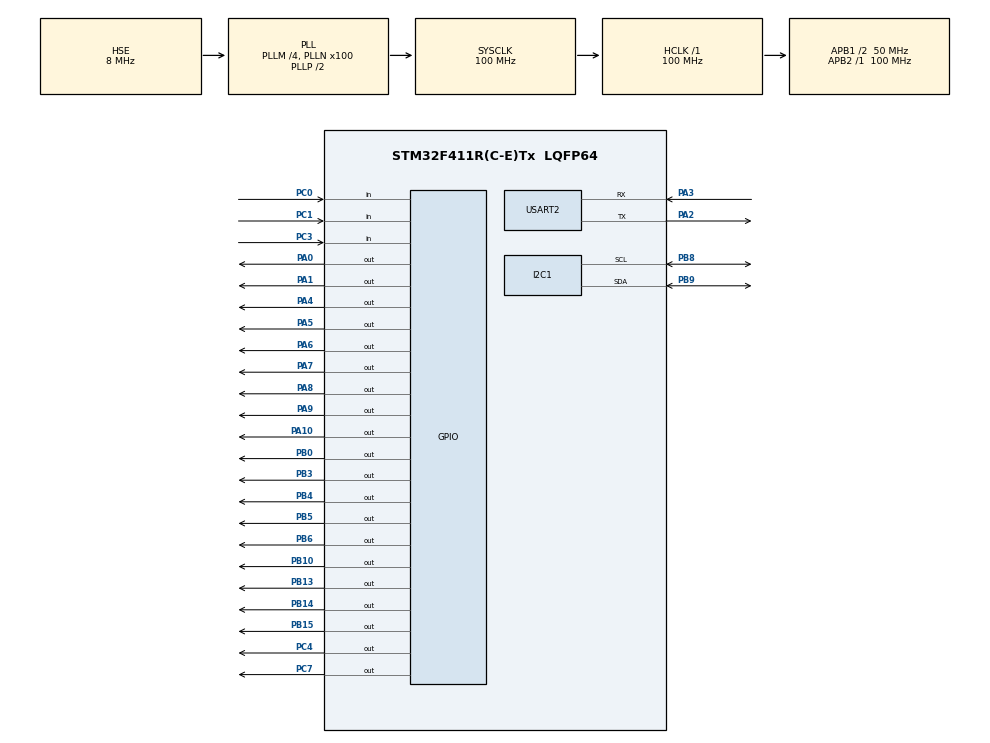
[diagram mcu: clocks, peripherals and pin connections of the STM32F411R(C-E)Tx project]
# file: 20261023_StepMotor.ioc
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Mcu.Family=STM32F4
Mcu.Name=STM32F411R(C-E)Tx
Mcu.Package=LQFP64
NVIC.PriorityGroup=NVIC_PRIORITYGROUP_4
NVIC.TIM1_BRK_TIM9_IRQn=true\:0\:0\:false\:false\:true\:true\:true\:true
NVIC.TIM3_IRQn=true\:0\:0\:false\:false\:true\:true\:true\:true
NVIC.TIM4_IRQn=true\:0\:0\:false\:false\:true\:true\:true\:true
PA0-WKUP.Signal=GPIO_Output
PA1.Signal=GPIO_Output
PA10.Signal=GPIO_Output
PA13.Mode=Serial_Wire
PA13.Signal=SYS_JTMS-SWDIO
PA14.Mode=Serial_Wire
PA14.Signal=SYS_JTCK-SWCLK
PA2.Mode=Asynchronous
PA2.Signal=USART2_TX
PA3.Mode=Asynchronous
PA3.Signal=USART2_RX
PA4.Signal=GPIO_Output
PA5.Signal=GPIO_Output
PA6.Signal=GPIO_Output
PA7.Signal=GPIO_Output
PA8.Signal=GPIO_Output
PA9.Signal=GPIO_Output
PB0.Signal=GPIO_Output
PB10.Signal=GPIO_Output
PB13.Signal=GPIO_Output
PB14.Signal=GPIO_Output
PB15.Signal=GPIO_Output
PB3.Signal=GPIO_Output
PB4.Signal=GPIO_Output
PB5.Signal=GPIO_Output
PB6.Signal=GPIO_Output
PB8.Mode=I2C
PB8.Signal=I2C1_SCL
PB9.Mode=I2C
PB9.Signal=I2C1_SDA
PC0.Signal=GPIO_Input
PC1.Signal=GPIO_Input
PC3.Signal=GPIO_Input
PC4.Signal=GPIO_Output
PC7.Signal=GPIO_Output
PH0\ -\ OSC_IN.Mode=HSE-External-Oscillator
PH0\ -\ OSC_IN.Signal=RCC_OSC_IN
PH1\ -\ OSC_OUT.Mode=HSE-External-Oscillator
PH1\ -\ OSC_OUT.Signal=RCC_OSC_OUT
ProjectManager.HeapSize=0x200
ProjectManager.StackSize=0x400
ProjectManager.TargetToolchain=STM32CubeIDE
RCC.48MHZClocksFreq_Value=50000000
RCC.AHBFreq_Value=100000000
RCC.APB1CLKDivider=RCC_HCLK_DIV2
RCC.APB1Freq_Value=50000000
RCC.APB1TimFreq_Value=100000000
RCC.APB2Freq_Value=100000000
RCC.APB2TimFreq_Value=100000000
RCC.CortexFreq_Value=100000000
RCC.HCLKFreq_Value=100000000
RCC.HSE_VALUE=8000000
RCC.HSI_VALUE=16000000
RCC.LSE_VALUE=32768
RCC.PLLM=4
RCC.PLLN=100
RCC.PLLSourceVirtual=RCC_PLLSOURCE_HSE
RCC.SYSCLKFreq_VALUE=100000000
RCC.SYSCLKSource=RCC_SYSCLKSOURCE_PLLCLK
RCC.VCOOutputFreq_Value=200000000
TIM3.Period=1000-1
TIM3.Prescaler=100-1
TIM4.Period=1000-1
TIM4.Prescaler=1000-1
TIM9.AutoReloadPreload=TIM_AUTORELOAD_PRELOAD_ENABLE
TIM9.Prescaler=100-1
USART2.VirtualMode=VM_ASYNC
VP_TIM3_VS_ClockSourceINT.Mode=Internal
VP_TIM4_VS_ClockSourceINT.Mode=Internal
VP_TIM9_VS_ClockSourceINT.Mode=Internal
board=custom

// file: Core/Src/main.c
/* USER CODE BEGIN Header */
/**
 ******************************************************************************
 * @file           : main.c
 * @brief          : Main program body
 ******************************************************************************
 * @attention
 *
 * Copyright (c) 2026 STMicroelectronics.
 * All rights reserved.
 *
 * This software is licensed under terms that can be found in the LICENSE file
 * in the root directory of this software component.
 * If no LICENSE file comes with this software, it is provided AS-IS.
 *
 ******************************************************************************
 */
/* USER CODE END Header */
#include "main.h"

/* USER CODE BEGIN Includes */
#include "driver/button/button.h"
#include "driver/stepmotor/stepmotor.h"
/* USER CODE END Includes */

I2C_HandleTypeDef hi2c1;

TIM_HandleTypeDef htim3;
TIM_HandleTypeDef htim4;
TIM_HandleTypeDef htim9;

UART_HandleTypeDef huart2;

void SystemClock_Config(void);
static void MX_GPIO_Init(void);
static void MX_TIM3_Init(void);
static void MX_TIM4_Init(void);
static void MX_I2C1_Init(void);
static void MX_USART2_UART_Init(void);
static void MX_TIM9_Init(void);
/* USER CODE BEGIN PFP */

stepMotor_pin_t stepMotorPinSec = {
		.port = {GPIOA,GPIOA,GPIOA,GPIOB},
		.pin = {GPIO_PIN_0,GPIO_PIN_1,GPIO_PIN_4,GPIO_PIN_0}
};

stepMotor_t motor_sec = {
		.pin = &stepMotorPinSec,
		.stepCounter = 0
};

/* TIM9 tick = 1 MHz (prescaler 100 on 100 MHz). One motor step per update event.
 * 28BYJ-48 half-step must stay slower than ~2 ms/step or it loses steps. */
#define CLOCKHANDS_PERIOD_SLOW_US	4000u	/* 250 steps/s */
#define CLOCKHANDS_PERIOD_FAST_US	2000u	/* 500 steps/s */

button_t btn_up;
button_t btn_down;

volatile uint8_t isrFlag = 0;

void ClockHands_setPeriodUs(uint16_t us){
	__HAL_TIM_SET_AUTORELOAD(&htim9, us - 1);
	__HAL_TIM_SET_COUNTER(&htim9, 0);	/* avoid waiting for a full 16-bit wrap */
}

void ClockHands_setFlag(void){
	isrFlag = 1;
}
void ClockHands_clearFlag(void){
	isrFlag = 0;
}
void ClockHands_ISR(void){
	ClockHands_setFlag();
}
void ClockHands_Task(void){
	if(isrFlag == 0){
		return;
	}
	ClockHands_clearFlag();
	StepMotor_stepPhase(&motor_sec,STEPMOTOR_ORIENTATION_CW);
}
void HAL_TIM_PeriodElapsedCallback(TIM_HandleTypeDef *htim)
{
	if(htim->Instance == TIM9){
		ClockHands_ISR();
	}
}
/* USER CODE END PFP */

int main(void)
{

	/* MCU Configuration--------------------------------------------------------*/

	/* Reset of all peripherals, Initializes the Flash interface and the Systick. */
	HAL_Init();

	/* Configure the system clock */
	SystemClock_Config();

	/* Initialize all configured peripherals */
	MX_GPIO_Init();
	MX_TIM3_Init();
	MX_TIM4_Init();
	MX_I2C1_Init();
	MX_USART2_UART_Init();
	MX_TIM9_Init();
	/* USER CODE BEGIN 2 */
	button_init(&btn_up,   GPIOC, GPIO_PIN_0);
	button_init(&btn_down, GPIOC, GPIO_PIN_1);

	ClockHands_setPeriodUs(CLOCKHANDS_PERIOD_SLOW_US);
	HAL_TIM_Base_Start_IT(&htim9);	/* _IT: without it the update interrupt never fires */
	/* USER CODE END 2 */

	/* Infinite loop */
	/* USER CODE BEGIN WHILE */
	while (1)
	{

		ClockHands_Task();
		if(button_getState(&btn_up)== ACT_RELEASE){
			ClockHands_setPeriodUs(CLOCKHANDS_PERIOD_SLOW_US);
		}
		else if (button_getState(&btn_down) == ACT_RELEASE){
			ClockHands_setPeriodUs(CLOCKHANDS_PERIOD_FAST_US);
		}

//		for(int i = 0; i<512;i++)
//		{
//			StepMotor_stepPhase(&motor_sec, STEPMOTOR_ORIENTATION_CCW);
//			HAL_Delay(1);
//		}
//		StepMotor_release(&motor_sec);
//		HAL_Delay(500);
//		for(int i = 0; i<512;i++)
//		{
//			StepMotor_stepPhase(&motor_sec, STEPMOTOR_ORIENTATION_CW);
//			HAL_Delay(1);
//		}
//		StepMotor_release(&motor_sec);
//		HAL_Delay(500);
		//	  while(k >0){
			//	  StepMotor_writePattern(&motor_sec, step_table[k]);
		//	  HAL_Delay(2);
		//	  k--;
		//	  }
		//	  k = 8;

		//	  ap_main();
		/* USER CODE END WHILE */

	}
}

void SystemClock_Config(void)
{
	RCC_OscInitTypeDef RCC_OscInitStruct = {0};
	RCC_ClkInitTypeDef RCC_ClkInitStruct = {0};

	/** Configure the main internal regulator output voltage
	 */
	__HAL_RCC_PWR_CLK_ENABLE();
	__HAL_PWR_VOLTAGESCALING_CONFIG(PWR_REGULATOR_VOLTAGE_SCALE1);

	/** Initializes the RCC Oscillators according to the specified parameters
	 * in the RCC_OscInitTypeDef structure.
	 */
	RCC_OscInitStruct.OscillatorType = RCC_OSCILLATORTYPE_HSE;
	RCC_OscInitStruct.HSEState = RCC_HSE_ON;
	RCC_OscInitStruct.PLL.PLLState = RCC_PLL_ON;
	RCC_OscInitStruct.PLL.PLLSource = RCC_PLLSOURCE_HSE;
	RCC_OscInitStruct.PLL.PLLM = 4;
	RCC_OscInitStruct.PLL.PLLN = 100;
	RCC_OscInitStruct.PLL.PLLP = RCC_PLLP_DIV2;
	RCC_OscInitStruct.PLL.PLLQ = 4;
	if (HAL_RCC_OscConfig(&RCC_OscInitStruct) != HAL_OK)
	{
		Error_Handler();
	}

	/** Initializes the CPU, AHB and APB buses clocks
	 */
	RCC_ClkInitStruct.ClockType = RCC_CLOCKTYPE_HCLK|RCC_CLOCKTYPE_SYSCLK
			|RCC_CLOCKTYPE_PCLK1|RCC_CLOCKTYPE_PCLK2;
	RCC_ClkInitStruct.SYSCLKSource = RCC_SYSCLKSOURCE_PLLCLK;
	RCC_ClkInitStruct.AHBCLKDivider = RCC_SYSCLK_DIV1;
	RCC_ClkInitStruct.APB1CLKDivider = RCC_HCLK_DIV2;
	RCC_ClkInitStruct.APB2CLKDivider = RCC_HCLK_DIV1;

	if (HAL_RCC_ClockConfig(&RCC_ClkInitStruct, FLASH_LATENCY_3) != HAL_OK)
	{
		Error_Handler();
	}
}

static void MX_I2C1_Init(void)
{

	hi2c1.Instance = I2C1;
	hi2c1.Init.ClockSpeed = 100000;
	hi2c1.Init.DutyCycle = I2C_DUTYCYCLE_2;
	hi2c1.Init.OwnAddress1 = 0;
	hi2c1.Init.AddressingMode = I2C_ADDRESSINGMODE_7BIT;
	hi2c1.Init.DualAddressMode = I2C_DUALADDRESS_DISABLE;
	hi2c1.Init.OwnAddress2 = 0;
	hi2c1.Init.GeneralCallMode = I2C_GENERALCALL_DISABLE;
	hi2c1.Init.NoStretchMode = I2C_NOSTRETCH_DISABLE;
	if (HAL_I2C_Init(&hi2c1) != HAL_OK)
	{
		Error_Handler();
	}

}

static void MX_TIM3_Init(void)
{

	TIM_ClockConfigTypeDef sClockSourceConfig = {0};
	TIM_MasterConfigTypeDef sMasterConfig = {0};

	htim3.Instance = TIM3;
	htim3.Init.Prescaler = 100-1;
	htim3.Init.CounterMode = TIM_COUNTERMODE_UP;
	htim3.Init.Period = 1000-1;
	htim3.Init.ClockDivision = TIM_CLOCKDIVISION_DIV1;
	htim3.Init.AutoReloadPreload = TIM_AUTORELOAD_PRELOAD_DISABLE;
	if (HAL_TIM_Base_Init(&htim3) != HAL_OK)
	{
		Error_Handler();
	}
	sClockSourceConfig.ClockSource = TIM_CLOCKSOURCE_INTERNAL;
	if (HAL_TIM_ConfigClockSource(&htim3, &sClockSourceConfig) != HAL_OK)
	{
		Error_Handler();
	}
	sMasterConfig.MasterOutputTrigger = TIM_TRGO_RESET;
	sMasterConfig.MasterSlaveMode = TIM_MASTERSLAVEMODE_DISABLE;
	if (HAL_TIMEx_MasterConfigSynchronization(&htim3, &sMasterConfig) != HAL_OK)
	{
		Error_Handler();
	}

}

static void MX_TIM4_Init(void)
{

	TIM_ClockConfigTypeDef sClockSourceConfig = {0};
	TIM_MasterConfigTypeDef sMasterConfig = {0};

	htim4.Instance = TIM4;
	htim4.Init.Prescaler = 1000-1;
	htim4.Init.CounterMode = TIM_COUNTERMODE_UP;
	htim4.Init.Period = 1000-1;
	htim4.Init.ClockDivision = TIM_CLOCKDIVISION_DIV1;
	htim4.Init.AutoReloadPreload = TIM_AUTORELOAD_PRELOAD_DISABLE;
	if (HAL_TIM_Base_Init(&htim4) != HAL_OK)
	{
		Error_Handler();
	}
	sClockSourceConfig.ClockSource = TIM_CLOCKSOURCE_INTERNAL;
	if (HAL_TIM_ConfigClockSource(&htim4, &sClockSourceConfig) != HAL_OK)
	{
		Error_Handler();
	}
	sMasterConfig.MasterOutputTrigger = TIM_TRGO_RESET;
	sMasterConfig.MasterSlaveMode = TIM_MASTERSLAVEMODE_DISABLE;
	if (HAL_TIMEx_MasterConfigSynchronization(&htim4, &sMasterConfig) != HAL_OK)
	{
		Error_Handler();
	}

}

static void MX_TIM9_Init(void)
{

	TIM_ClockConfigTypeDef sClockSourceConfig = {0};

	htim9.Instance = TIM9;
	htim9.Init.Prescaler = 100-1;
	htim9.Init.CounterMode = TIM_COUNTERMODE_UP;
	htim9.Init.Period = 65535;
	htim9.Init.ClockDivision = TIM_CLOCKDIVISION_DIV1;
	htim9.Init.AutoReloadPreload = TIM_AUTORELOAD_PRELOAD_DISABLE;
	if (HAL_TIM_Base_Init(&htim9) != HAL_OK)
	{
		Error_Handler();
	}
	sClockSourceConfig.ClockSource = TIM_CLOCKSOURCE_INTERNAL;
	if (HAL_TIM_ConfigClockSource(&htim9, &sClockSourceConfig) != HAL_OK)
	{
		Error_Handler();
	}

}

static void MX_USART2_UART_Init(void)
{

	huart2.Instance = USART2;
	huart2.Init.BaudRate = 115200;
	huart2.Init.WordLength = UART_WORDLENGTH_8B;
	huart2.Init.StopBits = UART_STOPBITS_1;
	huart2.Init.Parity = UART_PARITY_NONE;
	huart2.Init.Mode = UART_MODE_TX_RX;
	huart2.Init.HwFlowCtl = UART_HWCONTROL_NONE;
	huart2.Init.OverSampling = UART_OVERSAMPLING_16;
	if (HAL_UART_Init(&huart2) != HAL_OK)
	{
		Error_Handler();
	}

}

static void MX_GPIO_Init(void)
{
	GPIO_InitTypeDef GPIO_InitStruct = {0};

	/* GPIO Ports Clock Enable */
	__HAL_RCC_GPIOH_CLK_ENABLE();
	__HAL_RCC_GPIOC_CLK_ENABLE();
	__HAL_RCC_GPIOA_CLK_ENABLE();
	__HAL_RCC_GPIOB_CLK_ENABLE();

	/*Configure GPIO pin Output Level */
	HAL_GPIO_WritePin(GPIOA, GPIO_PIN_0|GPIO_PIN_1|GPIO_PIN_4|GPIO_PIN_5
			|GPIO_PIN_6|GPIO_PIN_7|GPIO_PIN_8|GPIO_PIN_9
			|GPIO_PIN_10, GPIO_PIN_RESET);

	/*Configure GPIO pin Output Level */
	HAL_GPIO_WritePin(GPIOC, GPIO_PIN_4|GPIO_PIN_7, GPIO_PIN_RESET);

	/*Configure GPIO pin Output Level */
	HAL_GPIO_WritePin(GPIOB, GPIO_PIN_0|GPIO_PIN_10|GPIO_PIN_13|GPIO_PIN_14
			|GPIO_PIN_15|GPIO_PIN_3|GPIO_PIN_4|GPIO_PIN_5
			|GPIO_PIN_6, GPIO_PIN_RESET);

	/*Configure GPIO pins : PC0 PC1 PC3 */
	GPIO_InitStruct.Pin = GPIO_PIN_0|GPIO_PIN_1|GPIO_PIN_3;
	GPIO_InitStruct.Mode = GPIO_MODE_INPUT;
	GPIO_InitStruct.Pull = GPIO_NOPULL;
	HAL_GPIO_Init(GPIOC, &GPIO_InitStruct);

	/*Configure GPIO pins : PA0 PA1 PA4 PA5
                           PA6 PA7 PA8 PA9
                           PA10 */
	GPIO_InitStruct.Pin = GPIO_PIN_0|GPIO_PIN_1|GPIO_PIN_4|GPIO_PIN_5
			|GPIO_PIN_6|GPIO_PIN_7|GPIO_PIN_8|GPIO_PIN_9
			|GPIO_PIN_10;
	GPIO_InitStruct.Mode = GPIO_MODE_OUTPUT_PP;
	GPIO_InitStruct.Pull = GPIO_NOPULL;
	GPIO_InitStruct.Speed = GPIO_SPEED_FREQ_LOW;
	HAL_GPIO_Init(GPIOA, &GPIO_InitStruct);

	/*Configure GPIO pins : PC4 PC7 */
	GPIO_InitStruct.Pin = GPIO_PIN_4|GPIO_PIN_7;
	GPIO_InitStruct.Mode = GPIO_MODE_OUTPUT_PP;
	GPIO_InitStruct.Pull = GPIO_NOPULL;
	GPIO_InitStruct.Speed = GPIO_SPEED_FREQ_LOW;
	HAL_GPIO_Init(GPIOC, &GPIO_InitStruct);

	/*Configure GPIO pins : PB0 PB10 PB13 PB14
                           PB15 PB3 PB4 PB5
                           PB6 */
	GPIO_InitStruct.Pin = GPIO_PIN_0|GPIO_PIN_10|GPIO_PIN_13|GPIO_PIN_14
			|GPIO_PIN_15|GPIO_PIN_3|GPIO_PIN_4|GPIO_PIN_5
			|GPIO_PIN_6;
	GPIO_InitStruct.Mode = GPIO_MODE_OUTPUT_PP;
	GPIO_InitStruct.Pull = GPIO_NOPULL;
	GPIO_InitStruct.Speed = GPIO_SPEED_FREQ_LOW;
	HAL_GPIO_Init(GPIOB, &GPIO_InitStruct);

}

void Error_Handler(void)
{
	__disable_irq();
	while (1)
	{
	}
}
